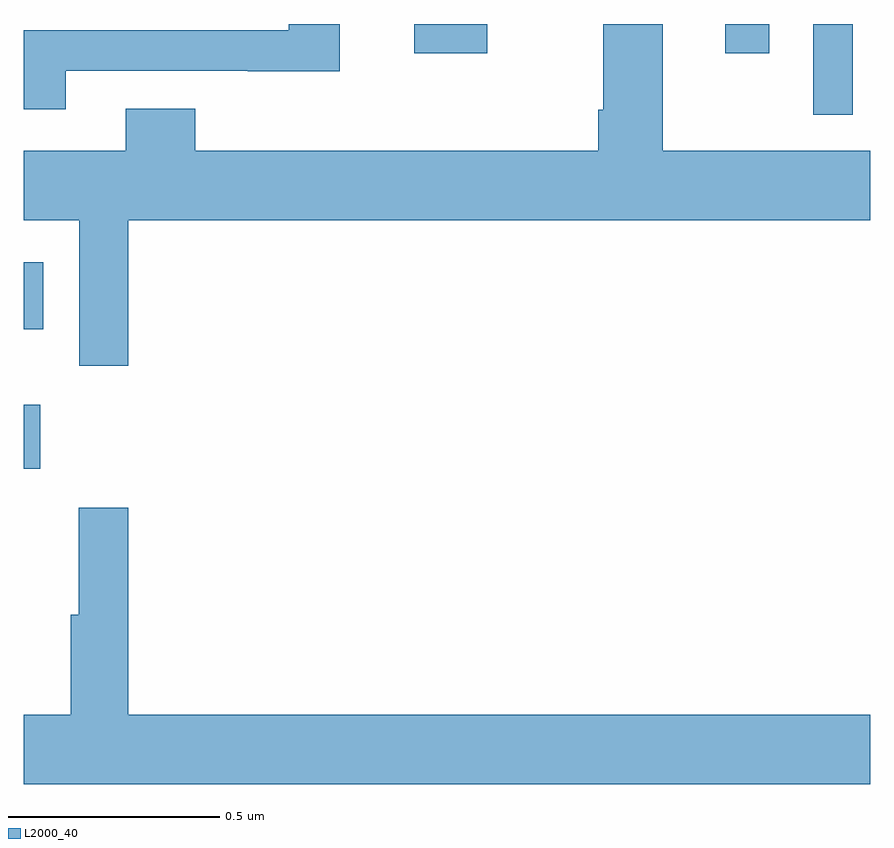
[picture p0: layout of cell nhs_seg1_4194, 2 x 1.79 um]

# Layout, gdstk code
import gdstk
lib = gdstk.Library(unit=1e-6, precision=1e-09)
def R(c, l, rs):  # rectangles x0, y0, x1, y1
    for r in rs: c.add(gdstk.rectangle(r[:2], r[2:], *l))
def P(c, l, *ps):  # polygons
    for p in ps: c.add(gdstk.Polygon(p, *l))
L2000_40 = (2000, 40)

nhs_seg1_4194 = lib.new_cell('nhs_seg1_4194')
R(nhs_seg1_4194, L2000_40, [(163,547.148,163.039,547.3), (163,547.478,163.046,547.636), (164.865,547.985,164.958,548.199), (163.923,548.13,164.095,548.199), (164.657,548.13,164.761,548.199)])
P(nhs_seg1_4194, L2000_40, [(163.247,547.736),(165,547.736),(165,547.9),(164.509,547.9),(164.509,548.199),(164.369,548.199),(164.369,547.996),(164.357,547.996),(164.357,547.9),(163.405,547.9),(163.405,547.999),(163.241,547.999),(163.241,547.9),(163,547.9),(163,547.736),(163.131,547.736),(163.131,547.392),(163.247,547.392)],
  [(163.099,548.088),(163.529,548.088),(163.529,548.087),(163.747,548.087),(163.747,548.199),(163.626,548.199),(163.626,548.184),(163,548.184),(163,547.998),(163.099,547.998)],
  [(165,546.568),(163.247,546.568),(163.247,547.057),(163.13,547.057),(163.13,546.804),(163.111,546.804),(163.111,546.568),(163,546.568),(163,546.404),(165,546.404)])

lib.write_gds('nhs_seg1_4194.gds')
